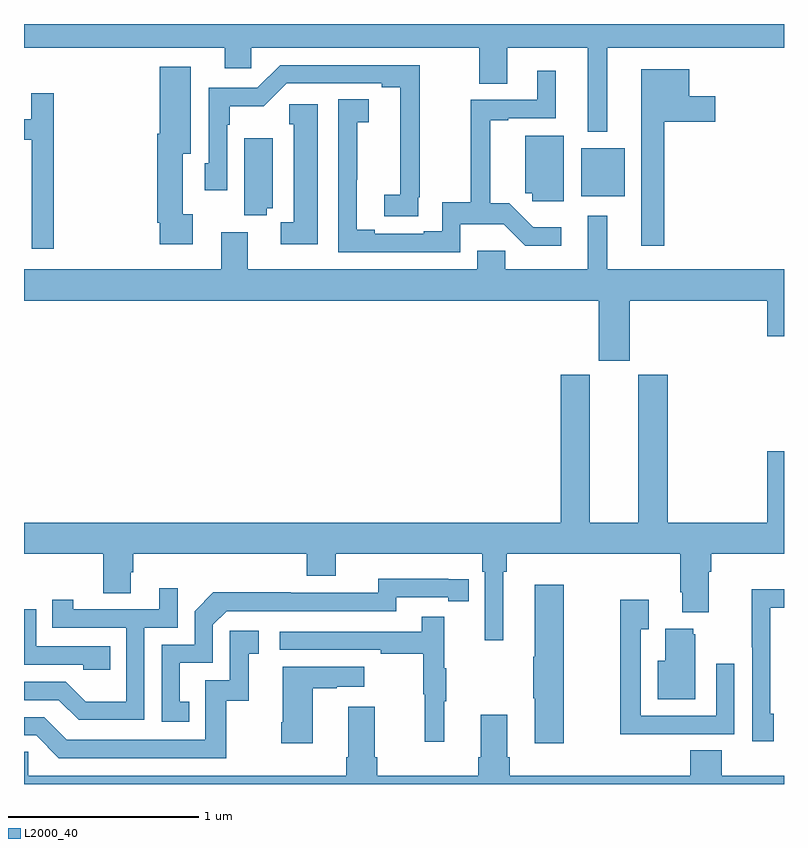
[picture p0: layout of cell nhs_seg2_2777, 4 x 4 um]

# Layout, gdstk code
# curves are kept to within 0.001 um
import gdstk
lib = gdstk.Library(unit=1e-6, precision=1e-09)
def R(c, l, rs):  # rectangles x0, y0, x1, y1
    for r in rs: c.add(gdstk.rectangle(r[:2], r[2:], *l))
def P(c, l, *ps):  # polygons
    for p in ps: c.add(gdstk.Polygon(p, *l))
L2000_40 = (2000, 40)

nhs_seg2_2777 = lib.new_cell('nhs_seg2_2777')
R(nhs_seg2_2777, L2000_40, [(259.934,606.893,260.161,607.147)])
P(nhs_seg2_2777, L2000_40, [(260.071,607.676),(261,607.676),(261,607.8),(257,607.8),(257,607.676),(258.056,607.676),(258.056,607.566),(258.195,607.566),(258.195,607.676),(259.396,607.676),(259.396,607.486),(259.543,607.486),(259.543,607.676),(259.967,607.676),(259.967,607.232),(260.071,607.232)],
  [(259.076,606.889),(259.082,606.889),(259.082,607.584),(258.348,607.584),(258.228,607.464),(257.973,607.464),(257.973,607.068),(257.952,607.068),(257.952,606.924),(258.069,606.924),(258.069,607.271),(258.082,607.271),(258.082,607.367),(258.263,607.367),(258.384,607.488),(258.884,607.488),(258.884,607.468),(258.98,607.468),(258.979,606.902),(258.897,606.902),(258.897,606.787),(259.076,606.787)],
  [(257.887,606.798),(257.836,606.798),(257.836,607.118),(257.878,607.118),(257.878,607.576),(257.714,607.576),(257.714,607.222),(257.702,607.222),(257.702,606.754),(257.714,606.754),(257.714,606.642),(257.887,606.642)],
  [(260.371,607.286),(260.638,607.286),(260.638,607.42),(260.5,607.42),(260.5,607.561),(260.249,607.561),(260.249,606.633),(260.371,606.633)],
  [(259.296,606.746),(259.525,606.746),(259.638,606.633),(259.828,606.633),(259.828,606.73),(259.679,606.73),(259.553,606.856),(259.454,606.856),(259.454,607.293),(259.549,607.293),(259.549,607.305),(259.798,607.305),(259.798,607.555),(259.7,607.555),(259.7,607.401),(259.351,607.401),(259.351,606.863),(259.2,606.863),(259.2,606.71),(259.103,606.71),(259.103,606.696),(258.847,606.696),(258.847,606.716),(258.751,606.716),(258.751,606.979),(258.753,606.979),(258.753,607.283),(258.814,607.283),(258.814,607.403),(258.654,607.403),(258.654,606.6),(259.296,606.6)],
  [(257.156,607.435),(257.039,607.435),(257.039,607.3),(257,607.3),(257,607.191),(257.04,607.191),(257.04,606.618),(257.156,606.618)],
  [(258.547,607.378),(258.397,607.378),(258.397,607.272),(258.419,607.272),(258.419,606.756),(258.351,606.756),(258.351,606.641),(258.547,606.641)],
  [(259.84,607.213),(259.637,607.213),(259.637,606.908),(259.674,606.908),(259.674,606.866),(259.84,606.866)],
  [(258.278,606.83),(258.31,606.83),(258.31,607.198),(258.158,607.198),(258.158,606.793),(258.278,606.793)],
  [(260.188,606.344),(260.912,606.344),(260.912,606.156),(261,606.156),(261,606.508),(260.071,606.508),(260.071,606.79),(259.967,606.79),(259.967,606.508),(259.532,606.508),(259.532,606.606),(259.385,606.606),(259.385,606.508),(258.178,606.508),(258.178,606.703),(258.038,606.703),(258.038,606.508),(257,606.508),(257,606.344),(260.024,606.344),(260.024,606.027),(260.188,606.027)],
  [(260.387,605.955),(260.234,605.955),(260.234,605.176),(259.978,605.176),(259.978,605.955),(259.826,605.955),(259.826,605.176),(257,605.176),(257,605.012),(257.416,605.012),(257.416,604.804),(257.563,604.804),(257.563,604.914),(257.576,604.914),(257.576,605.012),(258.488,605.012),(258.488,604.895),(258.64,604.895),(258.64,605.012),(259.412,605.012),(259.412,604.916),(259.425,604.916),(259.425,604.557),(259.522,604.557),(259.522,604.916),(259.541,604.916),(259.541,605.012),(260.453,605.012),(260.453,604.81),(260.465,604.81),(260.465,604.703),(260.605,604.703),(260.605,604.916),(260.618,604.916),(260.618,605.012),(261,605.012),(261,605.551),(260.912,605.551),(260.912,605.176),(260.387,605.176)],
  [(257.87,604.233),(257.821,604.233),(257.821,604.437),(257.994,604.437),(257.994,604.638),(258.066,604.71),(258.96,604.71),(258.96,604.782),(259.232,604.782),(259.232,604.762),(259.34,604.762),(259.34,604.878),(258.864,604.879),(258.864,604.806),(258.404,604.806),(258.404,604.808),(257.996,604.808),(257.898,604.71),(257.898,604.533),(257.724,604.533),(257.724,604.128),(257.87,604.128)],
  [(259.842,604.849),(259.688,604.849),(259.688,604.469),(259.681,604.469),(259.681,604.252),(259.688,604.252),(259.688,604.014),(259.842,604.014)],
  [(257.634,604.623),(257.808,604.623),(257.808,604.831),(257.711,604.831),(257.711,604.719),(257.26,604.719),(257.26,604.771),(257.149,604.771),(257.149,604.623),(257.538,604.623),(257.538,604.234),(257.324,604.234),(257.22,604.338),(257,604.338),(257,604.242),(257.183,604.242),(257.288,604.137),(257.634,604.137)],
  [(260.947,604.17),(260.928,604.17),(260.928,604.728),(261,604.728),(261,604.826),(260.83,604.826),(260.83,604.519),(260.832,604.519),(260.832,604.026),(260.947,604.026)],
  [(260.423,604.062),(260.739,604.062),(260.739,604.432),(260.643,604.432),(260.643,604.158),(260.247,604.158),(260.247,604.615),(260.287,604.615),(260.287,604.771),(260.139,604.771),(260.139,604.061),(260.423,604.061)],
  [(257.453,604.524),(257.064,604.524),(257.064,604.719),(257,604.719),(257,604.428),(257.313,604.428),(257.313,604.401),(257.453,604.401)],
  [(259.211,604.235),(259.222,604.235),(259.222,604.409),(259.211,604.409),(259.211,604.681),(259.093,604.681),(259.093,604.602),(258.345,604.602),(258.345,604.506),(258.877,604.506),(258.877,604.486),(259.101,604.486),(259.101,604.272),(259.108,604.272),(259.108,604.023),(259.211,604.023)],
  [(260.533,604.587),(260.522,604.587),(260.522,604.618),(260.375,604.618),(260.375,604.45),(260.336,604.45),(260.336,604.247),(260.533,604.247)],
  [(258.064,604.239),(258.182,604.239),(258.182,604.485),(258.235,604.485),(258.235,604.606),(258.084,604.606),(258.084,604.347),(257.955,604.347),(257.955,604.032),(257.226,604.032),(257.106,604.152),(257,604.152),(257,604.056),(257.064,604.056),(257.184,603.936),(258.064,603.936)],
  [(258.52,604.303),(258.647,604.303),(258.647,604.313),(258.79,604.313),(258.79,604.417),(258.362,604.417),(258.362,604.126),(258.355,604.126),(258.355,604.014),(258.52,604.014)],
  [(261,603.844),(260.672,603.844),(260.672,603.977),(260.507,603.977),(260.507,603.844),(259.556,603.844),(259.556,603.94),(259.543,603.94),(259.543,604.165),(259.403,604.165),(259.403,603.94),(259.391,603.94),(259.391,603.844),(258.86,603.844),(258.86,603.94),(258.847,603.94),(258.847,604.207),(258.707,604.207),(258.707,603.94),(258.695,603.94),(258.695,603.844),(257.022,603.844),(257.022,603.971),(257,603.971),(257,603.8),(261,603.8)])

lib.write_gds('nhs_seg2_2777.gds')
